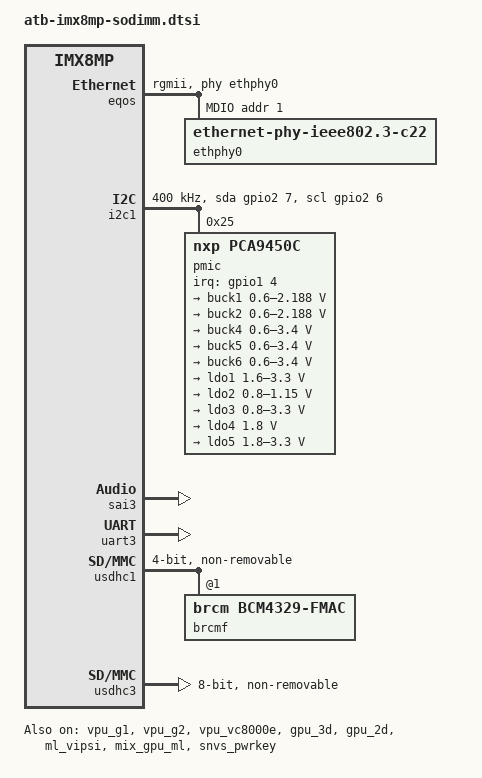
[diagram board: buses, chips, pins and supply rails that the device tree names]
// SPDX-License-Identifier: (GPL-2.0+ OR MIT)
/*
 * Copyright 2019 NXP
 * Copyright 2020-2021 Variscite Ltd.
 * Copyright 2022 ATB Electronics.
 */

/dts-v1/;

#include <dt-bindings/usb/pd.h>
#include "imx8mp.dtsi"
#include "imx8mp-pad-ctrl.h"

/ {
	compatible = "atb,imx8mp-sodimm", "fsl,imx8mp";

	aliases {
		ethernet0 = &eqos;
		ethernet1 = &fec;
	};

	/delete-node/ memory@40000000;

	reserved-memory {
		/* CMA region is configured by kernel command line as cma=<size>M */
		/delete-node/ linux,cma;
	};
};

&A53_0 {
	cpu-supply = <&buck2>;
};

&A53_1 {
	cpu-supply = <&buck2>;
};

&A53_2 {
	cpu-supply = <&buck2>;
};

&A53_3 {
	cpu-supply = <&buck2>;
};

&eqos {
	pinctrl-names = "default";
	pinctrl-0 = <&pinctrl_eqos>;
	phy-mode = "rgmii";
	phy-handle = <&ethphy0>;
	status = "okay";

	mdio {
		compatible = "snps,dwmac-mdio";
		#address-cells = <1>;
		#size-cells = <0>;

		ethphy0: ethernet-phy@1 {
			compatible = "ethernet-phy-ieee802.3-c22";
			reg = <1>;
			rtl821x,clkout-enable;
			rtl821x,aldps-disable;
			eee-broken-1000t;
		};
	};
};

&i2c1 {
	clock-frequency = <400000>;
	pinctrl-names = "default", "gpio";
	pinctrl-0 = <&pinctrl_i2c1>;
	pinctrl-1 = <&pinctrl_i2c1_gpio>;
	scl-gpios = <&gpio2 6 GPIO_ACTIVE_HIGH>;
	sda-gpios = <&gpio2 7 GPIO_ACTIVE_HIGH>;
	status = "okay";

	pmic: pca9450@25 {
		reg = <0x25>;
		compatible = "nxp,pca9450c";
		pinctrl-names = "default";
		pinctrl-0 = <&pinctrl_pmic>;
		interrupt-parent = <&gpio1>;
		interrupts = <4 GPIO_ACTIVE_LOW>;
		status = "okay";

		regulators {
			#address-cells = <1>;
			#size-cells = <0>;

			buck1: BUCK1 {
				regulator-name = "BUCK1";
				regulator-min-microvolt = <600000>;
				regulator-max-microvolt = <2187500>;
				regulator-boot-on;
				regulator-always-on;
				regulator-ramp-delay = <3125>;
			};

			buck2: BUCK2 {
				regulator-name = "BUCK2";
				regulator-min-microvolt = <600000>;
				regulator-max-microvolt = <2187500>;
				regulator-boot-on;
				regulator-always-on;
				regulator-ramp-delay = <3125>;
				nxp,dvs-run-voltage = <950000>;
				nxp,dvs-standby-voltage = <850000>;
			};

			buck4: BUCK4 {
				regulator-name = "BUCK4";
				regulator-min-microvolt = <600000>;
				regulator-max-microvolt = <3400000>;
				regulator-boot-on;
				regulator-always-on;
			};

			buck5: BUCK5 {
				regulator-name = "BUCK5";
				regulator-min-microvolt = <600000>;
				regulator-max-microvolt = <3400000>;
				regulator-boot-on;
				regulator-always-on;
			};

			buck6: BUCK6 {
				regulator-name = "BUCK6";
				regulator-min-microvolt = <600000>;
				regulator-max-microvolt = <3400000>;
				regulator-boot-on;
				regulator-always-on;
			};

			ldo1: LDO1 {
				regulator-name = "LDO1";
				regulator-min-microvolt = <1600000>;
				regulator-max-microvolt = <3300000>;
				regulator-boot-on;
				regulator-always-on;
			};

			ldo2: LDO2 {
				regulator-name = "LDO2";
				regulator-min-microvolt = <800000>;
				regulator-max-microvolt = <1150000>;
				regulator-boot-on;
				regulator-always-on;
			};

			ldo3: LDO3 {
				regulator-name = "LDO3";
				regulator-min-microvolt = <800000>;
				regulator-max-microvolt = <3300000>;
				regulator-boot-on;
				regulator-always-on;
			};

			ldo4: LDO4 {
				regulator-name = "LDO4";
				regulator-min-microvolt = <1800000>;
				regulator-max-microvolt = <1800000>;
				regulator-always-on;
			};

			ldo5: LDO5 {
				regulator-name = "LDO5";
				regulator-min-microvolt = <1800000>;
				regulator-max-microvolt = <3300000>;
			};
		};
	};
};

&sai3 {
	#sound-dai-cells = <0>;
	pinctrl-names = "default";
	pinctrl-0 = <&pinctrl_sai3>;
	assigned-clocks = <&clk IMX8MP_CLK_SAI3>;
	assigned-clock-parents = <&clk IMX8MP_AUDIO_PLL1_OUT>;
	assigned-clock-rates = <11536000>;
	clocks = <&audio_blk_ctrl IMX8MP_CLK_AUDIO_BLK_CTRL_SAI3_IPG>, <&clk IMX8MP_CLK_DUMMY>,
		 <&audio_blk_ctrl IMX8MP_CLK_AUDIO_BLK_CTRL_SAI3_MCLK1>, <&clk IMX8MP_CLK_DUMMY>,
		 <&clk IMX8MP_CLK_DUMMY>;
	clock-names = "bus", "mclk0", "mclk1", "mclk2", "mclk3";
	fsl,sai-mclk-direction-output;
	status = "okay";
};

&sdma2 {
	status = "okay";
};

/* BT */
&uart3 {
	pinctrl-names = "default";
	pinctrl-0 = <&pinctrl_uart3>, <&pinctrl_bt>;
	assigned-clocks = <&clk IMX8MP_CLK_UART3>;
	assigned-clock-parents = <&clk IMX8MP_SYS_PLL1_80M>;
	uart-has-rtscts;
	status = "okay";
};

/* WIFI */
&usdhc1 {
	#address-cells = <1>;
	#size-cells = <0>;
	pinctrl-names = "default", "state_100mhz", "state_200mhz";
	pinctrl-0 = <&pinctrl_usdhc1>, <&pinctrl_wifi>;
	pinctrl-1 = <&pinctrl_usdhc1_100mhz>, <&pinctrl_wifi>;
	pinctrl-2 = <&pinctrl_usdhc1_200mhz>, <&pinctrl_wifi>;
	bus-width = <4>;
	non-removable;
	keep-power-in-suspend;
	status = "okay";

	brcmf: bcrmf@1 {
		reg = <1>;
		compatible = "brcm,bcm4329-fmac";
		laird,regdomain = "US";
	};
};

/* eMMC */
&usdhc3 {
	pinctrl-names = "default", "state_100mhz", "state_200mhz";
	pinctrl-0 = <&pinctrl_usdhc3>;
	pinctrl-1 = <&pinctrl_usdhc3_100mhz>;
	pinctrl-2 = <&pinctrl_usdhc3_200mhz>;
	bus-width = <8>;
	non-removable;
	status = "okay";
};

&vpu_g1 {
	status = "okay";
};

&vpu_g2 {
	status = "okay";
};

&vpu_vc8000e {
	status = "okay";
};

&vpu_v4l2 {
	status = "disabled";
};

&gpu_3d {
	status = "okay";
};

&gpu_2d {
	status = "okay";
};

&ml_vipsi {
	status = "okay";
};

&mix_gpu_ml {
	status = "okay";
};

&snvs_rtc {
	status = "disabled";
};

&caam_snvs {
	status = "disabled";
};

&snvs_pwrkey {
	status = "okay";
};

&iomuxc {
	pinctrl_eqos: eqosgrp {
		fsl,pins = <
			MX8MP_IOMUXC_ENET_MDC__ENET_QOS_MDC				(PAD_DSE_X4) /* 0x2 */
			MX8MP_IOMUXC_ENET_MDIO__ENET_QOS_MDIO				(PAD_DSE_X4)
			MX8MP_IOMUXC_ENET_RD0__ENET_QOS_RGMII_RD0			(PAD_INPUT_SCHMITT | PAD_FAST_SLEW_RATE) /* 0x90 */
			MX8MP_IOMUXC_ENET_RD1__ENET_QOS_RGMII_RD1			(PAD_INPUT_SCHMITT | PAD_FAST_SLEW_RATE)
			MX8MP_IOMUXC_ENET_RD2__ENET_QOS_RGMII_RD2			(PAD_INPUT_SCHMITT | PAD_FAST_SLEW_RATE)
			MX8MP_IOMUXC_ENET_RD3__ENET_QOS_RGMII_RD3			(PAD_INPUT_SCHMITT | PAD_FAST_SLEW_RATE)
			MX8MP_IOMUXC_ENET_RXC__CCM_ENET_QOS_CLOCK_GENERATE_RX_CLK	(PAD_INPUT_SCHMITT | PAD_FAST_SLEW_RATE)
			MX8MP_IOMUXC_ENET_RX_CTL__ENET_QOS_RGMII_RX_CTL			(PAD_INPUT_SCHMITT | PAD_FAST_SLEW_RATE)
			MX8MP_IOMUXC_ENET_TD0__ENET_QOS_RGMII_TD0			(PAD_FAST_SLEW_RATE | PAD_DSE_X6) /* 0x16 */
			MX8MP_IOMUXC_ENET_TD1__ENET_QOS_RGMII_TD1			(PAD_FAST_SLEW_RATE | PAD_DSE_X6)
			MX8MP_IOMUXC_ENET_TD2__ENET_QOS_RGMII_TD2			(PAD_FAST_SLEW_RATE | PAD_DSE_X6)
			MX8MP_IOMUXC_ENET_TD3__ENET_QOS_RGMII_TD3			(PAD_FAST_SLEW_RATE | PAD_DSE_X6)
			MX8MP_IOMUXC_ENET_TX_CTL__ENET_QOS_RGMII_TX_CTL			(PAD_FAST_SLEW_RATE | PAD_DSE_X6)
			MX8MP_IOMUXC_ENET_TXC__CCM_ENET_QOS_CLOCK_GENERATE_TX_CLK	(PAD_FAST_SLEW_RATE | PAD_DSE_X6)
		>;
	};

	pinctrl_i2c1: i2c1grp {
		fsl,pins = <
			MX8MP_IOMUXC_I2C1_SCL__I2C1_SCL				(0x40000000 + PAD_PULL_ENABLE | PAD_INPUT_SCHMITT | PAD_WEAK_PULL_UP | PAD_DSE_X4) /* 0x400001c2 */
			MX8MP_IOMUXC_I2C1_SDA__I2C1_SDA				(0x40000000 + PAD_PULL_ENABLE | PAD_INPUT_SCHMITT | PAD_WEAK_PULL_UP | PAD_DSE_X4)
		>;
	};

	pinctrl_i2c1_gpio: i2c1gpiogrp {
		fsl,pins = <
			MX8MP_IOMUXC_I2C1_SCL__GPIO5_IO14				 (PAD_PULL_ENABLE | PAD_INPUT_SCHMITT | PAD_WEAK_PULL_UP) /* 0x1c0 */
			MX8MP_IOMUXC_I2C1_SDA__GPIO5_IO15				 (PAD_PULL_ENABLE | PAD_INPUT_SCHMITT | PAD_WEAK_PULL_UP)
		>;
	};

	pinctrl_pmic: pmicgrp {
		fsl,pins = <
			MX8MP_IOMUXC_GPIO1_IO04__GPIO1_IO04				(PAD_PULL_ENABLE | PAD_INPUT_SCHMITT | PAD_WEAK_PULL_UP)
		>;
	};

	pinctrl_sai3: sai3grp {
		fsl,pins = <
			MX8MP_IOMUXC_SAI3_TXFS__AUDIOMIX_SAI3_TX_SYNC			(PAD_INPUT_SCHMITT | PAD_WEAK_PULL_UP |PAD_FAST_SLEW_RATE | PAD_DSE_X6) /* 0xd6 */
			MX8MP_IOMUXC_SAI3_TXC__AUDIOMIX_SAI3_TX_BCLK			(PAD_INPUT_SCHMITT | PAD_WEAK_PULL_UP |PAD_FAST_SLEW_RATE | PAD_DSE_X6)
			MX8MP_IOMUXC_SAI3_RXD__AUDIOMIX_SAI3_RX_DATA00			(PAD_INPUT_SCHMITT | PAD_WEAK_PULL_UP |PAD_FAST_SLEW_RATE | PAD_DSE_X6)
			MX8MP_IOMUXC_SAI3_TXD__AUDIOMIX_SAI3_TX_DATA00			(PAD_INPUT_SCHMITT | PAD_WEAK_PULL_UP |PAD_FAST_SLEW_RATE | PAD_DSE_X6)
			MX8MP_IOMUXC_SAI3_MCLK__AUDIOMIX_SAI3_MCLK			(PAD_INPUT_SCHMITT | PAD_WEAK_PULL_UP |PAD_FAST_SLEW_RATE | PAD_DSE_X6)
			MX8MP_IOMUXC_SAI3_RXFS__AUDIOMIX_SAI3_RX_SYNC			(PAD_INPUT_SCHMITT | PAD_WEAK_PULL_UP |PAD_FAST_SLEW_RATE | PAD_DSE_X6)
			MX8MP_IOMUXC_SAI3_RXC__AUDIOMIX_SAI3_RX_BCLK			(PAD_INPUT_SCHMITT | PAD_WEAK_PULL_UP |PAD_FAST_SLEW_RATE | PAD_DSE_X6)
		>;
	};

	pinctrl_usdhc1: usdhc1grp {
		fsl,pins = <
			MX8MP_IOMUXC_SD1_CLK__USDHC1_CLK				(PAD_PULL_ENABLE | PAD_INPUT_SCHMITT | PAD_FAST_SLEW_RATE)
			MX8MP_IOMUXC_SD1_CMD__USDHC1_CMD				(PAD_PULL_ENABLE | PAD_INPUT_SCHMITT | PAD_WEAK_PULL_UP |PAD_FAST_SLEW_RATE | PAD_DSE_X2)
			MX8MP_IOMUXC_SD1_DATA0__USDHC1_DATA0				(PAD_PULL_ENABLE | PAD_INPUT_SCHMITT | PAD_WEAK_PULL_UP |PAD_FAST_SLEW_RATE | PAD_DSE_X2)
			MX8MP_IOMUXC_SD1_DATA1__USDHC1_DATA1				(PAD_PULL_ENABLE | PAD_INPUT_SCHMITT | PAD_WEAK_PULL_UP |PAD_FAST_SLEW_RATE | PAD_DSE_X2)
			MX8MP_IOMUXC_SD1_DATA2__USDHC1_DATA2				(PAD_PULL_ENABLE | PAD_INPUT_SCHMITT | PAD_WEAK_PULL_UP |PAD_FAST_SLEW_RATE | PAD_DSE_X2)
			MX8MP_IOMUXC_SD1_DATA3__USDHC1_DATA3				(PAD_PULL_ENABLE | PAD_INPUT_SCHMITT | PAD_WEAK_PULL_UP |PAD_FAST_SLEW_RATE | PAD_DSE_X2)
		>;
	};

	pinctrl_usdhc1_100mhz: usdhc1grp-100mhz {
		fsl,pins = <
			MX8MP_IOMUXC_SD1_CLK__USDHC1_CLK				(PAD_PULL_ENABLE | PAD_INPUT_SCHMITT | PAD_FAST_SLEW_RATE | PAD_DSE_X2) /* 0x194 */
			MX8MP_IOMUXC_SD1_CMD__USDHC1_CMD				(PAD_PULL_ENABLE | PAD_INPUT_SCHMITT | PAD_WEAK_PULL_UP |PAD_FAST_SLEW_RATE | PAD_DSE_X2)
			MX8MP_IOMUXC_SD1_DATA0__USDHC1_DATA0				(PAD_PULL_ENABLE | PAD_INPUT_SCHMITT | PAD_WEAK_PULL_UP |PAD_FAST_SLEW_RATE | PAD_DSE_X2)
			MX8MP_IOMUXC_SD1_DATA1__USDHC1_DATA1				(PAD_PULL_ENABLE | PAD_INPUT_SCHMITT | PAD_WEAK_PULL_UP |PAD_FAST_SLEW_RATE | PAD_DSE_X2)
			MX8MP_IOMUXC_SD1_DATA2__USDHC1_DATA2				(PAD_PULL_ENABLE | PAD_INPUT_SCHMITT | PAD_WEAK_PULL_UP |PAD_FAST_SLEW_RATE | PAD_DSE_X2)
			MX8MP_IOMUXC_SD1_DATA3__USDHC1_DATA3				(PAD_PULL_ENABLE | PAD_INPUT_SCHMITT | PAD_WEAK_PULL_UP |PAD_FAST_SLEW_RATE | PAD_DSE_X2)
		>;
	};

	pinctrl_usdhc1_200mhz: usdhc1grp-200mhz {
		fsl,pins = <
			MX8MP_IOMUXC_SD1_CLK__USDHC1_CLK				(PAD_PULL_ENABLE | PAD_INPUT_SCHMITT | PAD_FAST_SLEW_RATE | PAD_DSE_X6) /* 0x196 */
			MX8MP_IOMUXC_SD1_CMD__USDHC1_CMD				(PAD_PULL_ENABLE | PAD_INPUT_SCHMITT | PAD_WEAK_PULL_UP |PAD_FAST_SLEW_RATE | PAD_DSE_X6) /* 0x1d6 */
			MX8MP_IOMUXC_SD1_DATA0__USDHC1_DATA0				(PAD_PULL_ENABLE | PAD_INPUT_SCHMITT | PAD_WEAK_PULL_UP |PAD_FAST_SLEW_RATE | PAD_DSE_X6)
			MX8MP_IOMUXC_SD1_DATA1__USDHC1_DATA1				(PAD_PULL_ENABLE | PAD_INPUT_SCHMITT | PAD_WEAK_PULL_UP |PAD_FAST_SLEW_RATE | PAD_DSE_X6)
			MX8MP_IOMUXC_SD1_DATA2__USDHC1_DATA2				(PAD_PULL_ENABLE | PAD_INPUT_SCHMITT | PAD_WEAK_PULL_UP |PAD_FAST_SLEW_RATE | PAD_DSE_X6)
			MX8MP_IOMUXC_SD1_DATA3__USDHC1_DATA3				(PAD_PULL_ENABLE | PAD_INPUT_SCHMITT | PAD_WEAK_PULL_UP |PAD_FAST_SLEW_RATE | PAD_DSE_X6)
		>;
	};

	pinctrl_usdhc3: usdhc3grp {
		fsl,pins = <
			MX8MP_IOMUXC_NAND_WE_B__USDHC3_CLK				(PAD_PULL_ENABLE | PAD_INPUT_SCHMITT | PAD_FAST_SLEW_RATE) /* 0x190 */
			MX8MP_IOMUXC_NAND_WP_B__USDHC3_CMD				(PAD_PULL_ENABLE | PAD_INPUT_SCHMITT | PAD_WEAK_PULL_UP |PAD_FAST_SLEW_RATE | PAD_DSE_X2) /* 0x1d0 */
			MX8MP_IOMUXC_NAND_DATA04__USDHC3_DATA0				(PAD_PULL_ENABLE | PAD_INPUT_SCHMITT | PAD_WEAK_PULL_UP |PAD_FAST_SLEW_RATE | PAD_DSE_X2)
			MX8MP_IOMUXC_NAND_DATA05__USDHC3_DATA1				(PAD_PULL_ENABLE | PAD_INPUT_SCHMITT | PAD_WEAK_PULL_UP |PAD_FAST_SLEW_RATE | PAD_DSE_X2)
			MX8MP_IOMUXC_NAND_DATA06__USDHC3_DATA2				(PAD_PULL_ENABLE | PAD_INPUT_SCHMITT | PAD_WEAK_PULL_UP |PAD_FAST_SLEW_RATE | PAD_DSE_X2)
			MX8MP_IOMUXC_NAND_DATA07__USDHC3_DATA3				(PAD_PULL_ENABLE | PAD_INPUT_SCHMITT | PAD_WEAK_PULL_UP |PAD_FAST_SLEW_RATE | PAD_DSE_X2)
			MX8MP_IOMUXC_NAND_RE_B__USDHC3_DATA4				(PAD_PULL_ENABLE | PAD_INPUT_SCHMITT | PAD_WEAK_PULL_UP |PAD_FAST_SLEW_RATE | PAD_DSE_X2)
			MX8MP_IOMUXC_NAND_CE2_B__USDHC3_DATA5				(PAD_PULL_ENABLE | PAD_INPUT_SCHMITT | PAD_WEAK_PULL_UP |PAD_FAST_SLEW_RATE | PAD_DSE_X2)
			MX8MP_IOMUXC_NAND_CE3_B__USDHC3_DATA6				(PAD_PULL_ENABLE | PAD_INPUT_SCHMITT | PAD_WEAK_PULL_UP |PAD_FAST_SLEW_RATE | PAD_DSE_X2)
			MX8MP_IOMUXC_NAND_CLE__USDHC3_DATA7				(PAD_PULL_ENABLE | PAD_INPUT_SCHMITT | PAD_WEAK_PULL_UP |PAD_FAST_SLEW_RATE | PAD_DSE_X2)
			MX8MP_IOMUXC_NAND_CE1_B__USDHC3_STROBE				(PAD_PULL_ENABLE | PAD_INPUT_SCHMITT | PAD_FAST_SLEW_RATE)
		>;
	};

	pinctrl_usdhc3_100mhz: usdhc3grp-100mhz {
		fsl,pins = <
			MX8MP_IOMUXC_NAND_WE_B__USDHC3_CLK				(PAD_PULL_ENABLE | PAD_INPUT_SCHMITT | PAD_FAST_SLEW_RATE | PAD_DSE_X2)
			MX8MP_IOMUXC_NAND_WP_B__USDHC3_CMD				(PAD_PULL_ENABLE | PAD_INPUT_SCHMITT | PAD_WEAK_PULL_UP |PAD_FAST_SLEW_RATE | PAD_DSE_X2)
			MX8MP_IOMUXC_NAND_DATA04__USDHC3_DATA0				(PAD_PULL_ENABLE | PAD_INPUT_SCHMITT | PAD_WEAK_PULL_UP |PAD_FAST_SLEW_RATE | PAD_DSE_X2)
			MX8MP_IOMUXC_NAND_DATA05__USDHC3_DATA1				(PAD_PULL_ENABLE | PAD_INPUT_SCHMITT | PAD_WEAK_PULL_UP |PAD_FAST_SLEW_RATE | PAD_DSE_X2)
			MX8MP_IOMUXC_NAND_DATA06__USDHC3_DATA2				(PAD_PULL_ENABLE | PAD_INPUT_SCHMITT | PAD_WEAK_PULL_UP |PAD_FAST_SLEW_RATE | PAD_DSE_X2)
			MX8MP_IOMUXC_NAND_DATA07__USDHC3_DATA3				(PAD_PULL_ENABLE | PAD_INPUT_SCHMITT | PAD_WEAK_PULL_UP |PAD_FAST_SLEW_RATE | PAD_DSE_X2)
			MX8MP_IOMUXC_NAND_RE_B__USDHC3_DATA4				(PAD_PULL_ENABLE | PAD_INPUT_SCHMITT | PAD_WEAK_PULL_UP |PAD_FAST_SLEW_RATE | PAD_DSE_X2)
			MX8MP_IOMUXC_NAND_CE2_B__USDHC3_DATA5				(PAD_PULL_ENABLE | PAD_INPUT_SCHMITT | PAD_WEAK_PULL_UP |PAD_FAST_SLEW_RATE | PAD_DSE_X2)
			MX8MP_IOMUXC_NAND_CE3_B__USDHC3_DATA6				(PAD_PULL_ENABLE | PAD_INPUT_SCHMITT | PAD_WEAK_PULL_UP |PAD_FAST_SLEW_RATE | PAD_DSE_X2)
			MX8MP_IOMUXC_NAND_CLE__USDHC3_DATA7				(PAD_PULL_ENABLE | PAD_INPUT_SCHMITT | PAD_WEAK_PULL_UP |PAD_FAST_SLEW_RATE | PAD_DSE_X2)
			MX8MP_IOMUXC_NAND_CE1_B__USDHC3_STROBE				(PAD_PULL_ENABLE | PAD_INPUT_SCHMITT | PAD_FAST_SLEW_RATE | PAD_DSE_X2)
		>;
	};

	pinctrl_usdhc3_200mhz: usdhc3grp-200mhz {
		fsl,pins = <
			MX8MP_IOMUXC_NAND_WE_B__USDHC3_CLK				(PAD_PULL_ENABLE | PAD_INPUT_SCHMITT | PAD_WEAK_PULL_UP |PAD_FAST_SLEW_RATE | PAD_DSE_X6)
			MX8MP_IOMUXC_NAND_WP_B__USDHC3_CMD				(PAD_PULL_ENABLE | PAD_INPUT_SCHMITT | PAD_WEAK_PULL_UP |PAD_FAST_SLEW_RATE | PAD_DSE_X6)
			MX8MP_IOMUXC_NAND_DATA04__USDHC3_DATA0				(PAD_PULL_ENABLE | PAD_INPUT_SCHMITT | PAD_WEAK_PULL_UP |PAD_FAST_SLEW_RATE | PAD_DSE_X6)
			MX8MP_IOMUXC_NAND_DATA05__USDHC3_DATA1				(PAD_PULL_ENABLE | PAD_INPUT_SCHMITT | PAD_WEAK_PULL_UP |PAD_FAST_SLEW_RATE | PAD_DSE_X6)
			MX8MP_IOMUXC_NAND_DATA06__USDHC3_DATA2				(PAD_PULL_ENABLE | PAD_INPUT_SCHMITT | PAD_WEAK_PULL_UP |PAD_FAST_SLEW_RATE | PAD_DSE_X6)
			MX8MP_IOMUXC_NAND_DATA07__USDHC3_DATA3				(PAD_PULL_ENABLE | PAD_INPUT_SCHMITT | PAD_WEAK_PULL_UP |PAD_FAST_SLEW_RATE | PAD_DSE_X6)
			MX8MP_IOMUXC_NAND_RE_B__USDHC3_DATA4				(PAD_PULL_ENABLE | PAD_INPUT_SCHMITT | PAD_WEAK_PULL_UP |PAD_FAST_SLEW_RATE | PAD_DSE_X6)
			MX8MP_IOMUXC_NAND_CE2_B__USDHC3_DATA5				(PAD_PULL_ENABLE | PAD_INPUT_SCHMITT | PAD_WEAK_PULL_UP |PAD_FAST_SLEW_RATE | PAD_DSE_X6)
			MX8MP_IOMUXC_NAND_CE3_B__USDHC3_DATA6				(PAD_PULL_ENABLE | PAD_INPUT_SCHMITT | PAD_WEAK_PULL_UP |PAD_FAST_SLEW_RATE | PAD_DSE_X6)
			MX8MP_IOMUXC_NAND_CLE__USDHC3_DATA7				(PAD_PULL_ENABLE | PAD_INPUT_SCHMITT | PAD_WEAK_PULL_UP |PAD_FAST_SLEW_RATE | PAD_DSE_X6)
			MX8MP_IOMUXC_NAND_CE1_B__USDHC3_STROBE				(PAD_PULL_ENABLE | PAD_INPUT_SCHMITT | PAD_WEAK_PULL_UP |PAD_FAST_SLEW_RATE | PAD_DSE_X6)
		>;
	};

	pinctrl_wifi: wifigrp {
		fsl,pins = <
			/* WLAN_EN */
			MX8MP_IOMUXC_SD1_DATA4__GPIO2_IO06				(PAD_PULL_ENABLE | PAD_INPUT_SCHMITT | PAD_WEAK_PULL_UP | PAD_DSE_X4)
			/* WLAN_PDn */
			MX8MP_IOMUXC_SD1_DATA5__GPIO2_IO07				(PAD_PULL_ENABLE | PAD_INPUT_SCHMITT | PAD_WEAK_PULL_UP | PAD_DSE_X4)
		>;
	};

	pinctrl_bt: btgrp {
		fsl,pins = <
			/* BT_EN */
			MX8MP_IOMUXC_SD2_WP__GPIO2_IO20				  (PAD_INPUT_SCHMITT | PAD_WEAK_PULL_UP) /* 0xc0 */
		>;
	};

	pinctrl_uart3: uart3grp {
		fsl,pins = <
			/* BT_UART3_RX */
			MX8MP_IOMUXC_SD1_DATA7__UART3_DCE_RX				(PAD_PULL_ENABLE | PAD_WEAK_PULL_UP) /* 0x140 */
			/* BT_UART3_TX */
			MX8MP_IOMUXC_SD1_DATA6__UART3_DCE_TX				(PAD_PULL_ENABLE | PAD_WEAK_PULL_UP)
			/* BT_UART3_CTS */
			MX8MP_IOMUXC_SD1_STROBE__UART3_DCE_CTS				(PAD_PULL_ENABLE | PAD_WEAK_PULL_UP)
			/* BT_UART3_RTS */
			MX8MP_IOMUXC_SD1_RESET_B__UART3_DCE_RTS				(PAD_PULL_ENABLE | PAD_WEAK_PULL_UP)
		>;
	};

};
